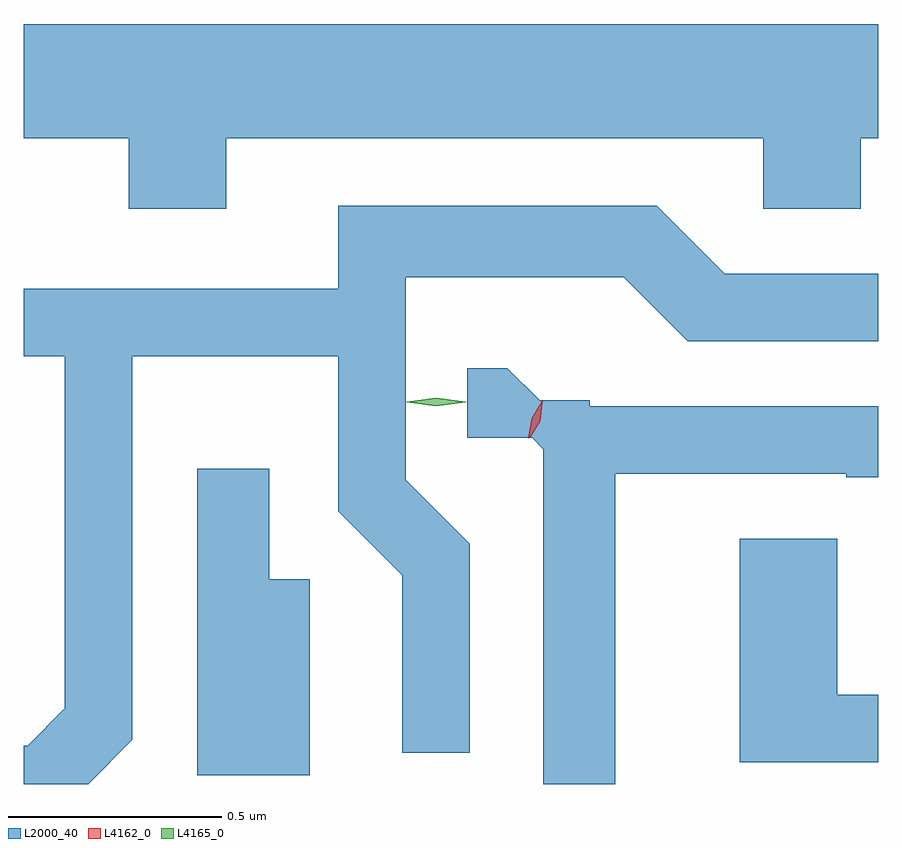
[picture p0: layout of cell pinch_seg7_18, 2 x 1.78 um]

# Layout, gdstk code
import gdstk
lib = gdstk.Library(unit=1e-6, precision=1e-09)
def P(c, l, *ps):  # polygons
    for p in ps: c.add(gdstk.Polygon(p, *l))
L2000_40 = (2000, 40)
L4162_0 = (4162, 0)
L4165_0 = (4165, 0)

pinch_seg7_18 = lib.new_cell('pinch_seg7_18')
P(pinch_seg7_18, L2000_40, [(1032.629,1763.156),(1033.886,1763.156),(1033.886,1762.991),(1034.114,1762.991),(1034.114,1763.156),(1034.155,1763.156),(1034.155,1763.424),(1032.155,1763.424),(1032.155,1763.156),(1032.401,1763.156),(1032.401,1762.991),(1032.629,1762.991)],
  [(1032.409,1761.749),(1032.409,1762.646),(1032.891,1762.646),(1032.891,1762.284),(1033.041,1762.134),(1033.041,1761.718),(1033.199,1761.718),(1033.199,1762.207),(1033.049,1762.357),(1033.049,1762.831),(1033.559,1762.831),(1033.709,1762.681),(1034.155,1762.681),(1034.155,1762.839),(1033.796,1762.839),(1033.637,1762.999),(1032.891,1762.999),(1032.891,1762.804),(1032.155,1762.804),(1032.155,1762.646),(1032.251,1762.646),(1032.251,1761.822),(1032.164,1761.734),(1032.155,1761.734),(1032.155,1761.645),(1032.306,1761.645)],
  [(1033.539,1762.371),(1034.08,1762.371),(1034.08,1762.363),(1034.155,1762.363),(1034.155,1762.529),(1033.48,1762.529),(1033.48,1762.543),(1033.363,1762.543),(1033.287,1762.618),(1033.193,1762.618),(1033.193,1762.455),(1033.345,1762.455),(1033.371,1762.429),(1033.371,1761.645),(1033.539,1761.645)],
  [(1032.824,1762.124),(1032.729,1762.124),(1032.729,1762.383),(1032.561,1762.383),(1032.561,1761.666),(1032.824,1761.666)],
  [(1034.155,1761.854),(1034.059,1761.854),(1034.059,1762.219),(1033.831,1762.219),(1033.831,1761.696),(1034.155,1761.696)])
P(pinch_seg7_18, L4162_0, [(1033.341,1762.458),(1033.341,1762.458),(1033.346,1762.5),(1033.368,1762.536),(1033.368,1762.537),(1033.369,1762.536),(1033.364,1762.494),(1033.342,1762.458)],
  [(1033.336,1762.454),(1033.336,1762.454),(1033.344,1762.501),(1033.369,1762.542),(1033.37,1762.542),(1033.37,1762.541),(1033.362,1762.494),(1033.337,1762.454)])
P(pinch_seg7_18, L4165_0, [(1033.12,1762.529),(1033.051,1762.539),(1033.051,1762.539),(1033.051,1762.54),(1033.12,1762.549),(1033.19,1762.54),(1033.19,1762.539),(1033.19,1762.539)])

lib.write_gds('pinch_seg7_18.gds')
